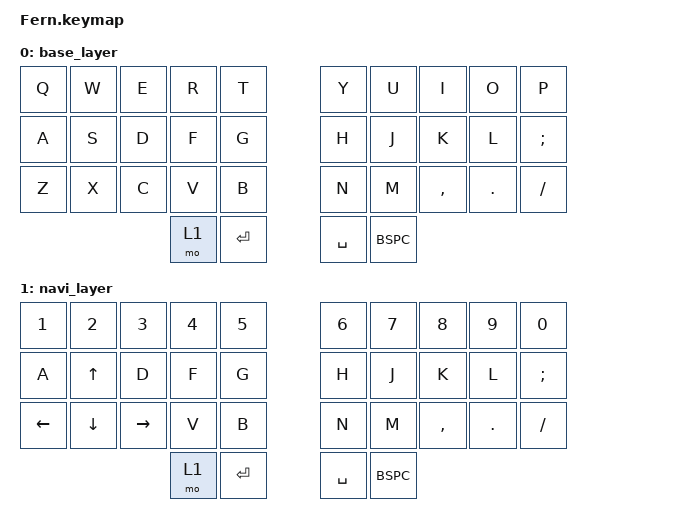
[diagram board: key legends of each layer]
/*
 * Copyright (c) 2022 The ZMK Contributors
 *
 * SPDX-License-Identifier: MIT
 */

#include <behaviors.dtsi>
#include <dt-bindings/zmk/keys.h>
#include <dt-bindings/zmk/bt.h>
#include <dt-bindings/zmk/outputs.h>

#define BASE 0
#define NAVI 1

/ {
    keymap {
        compatible = "zmk,keymap";
        label = "BASE";
        base_layer {
            bindings = <
              &kp Q      &kp W      &kp E      &kp R      &kp T      &kp Y      &kp U      &kp I      &kp O      &kp P
              &kp A      &kp S      &kp D      &kp F      &kp G      &kp H      &kp J      &kp K      &kp L      &kp SEMI
              &kp Z      &kp X      &kp C      &kp V      &kp B      &kp N      &kp M      &kp COMMA  &kp PERIOD &kp SLASH
                                               &mo 1      &kp ENTER  &kp SPACE  &BSPC
            >;
        };
        label = "NAVI";
        navi_layer {
            bindings = <
               &kp N1     &kp N2     &kp N3     &kp N4     &kp N5     &kp N6     &kp N7     &kp N8     &kp N9     &kp N0
               &kp A      &kp UP     &kp D      &kp F      &kp G      &kp H      &kp J      &kp K      &kp L      &kp SEMI
               &kp LEFT   &kp DOWN   &kp RIGHT  &kp V      &kp B      &kp N      &kp M      &kp COMMA  &kp PERIOD &kp SLASH
                                                &mo 1      &kp ENTER  &kp SPACE  &BSPC
            >;
        };
    };
};
